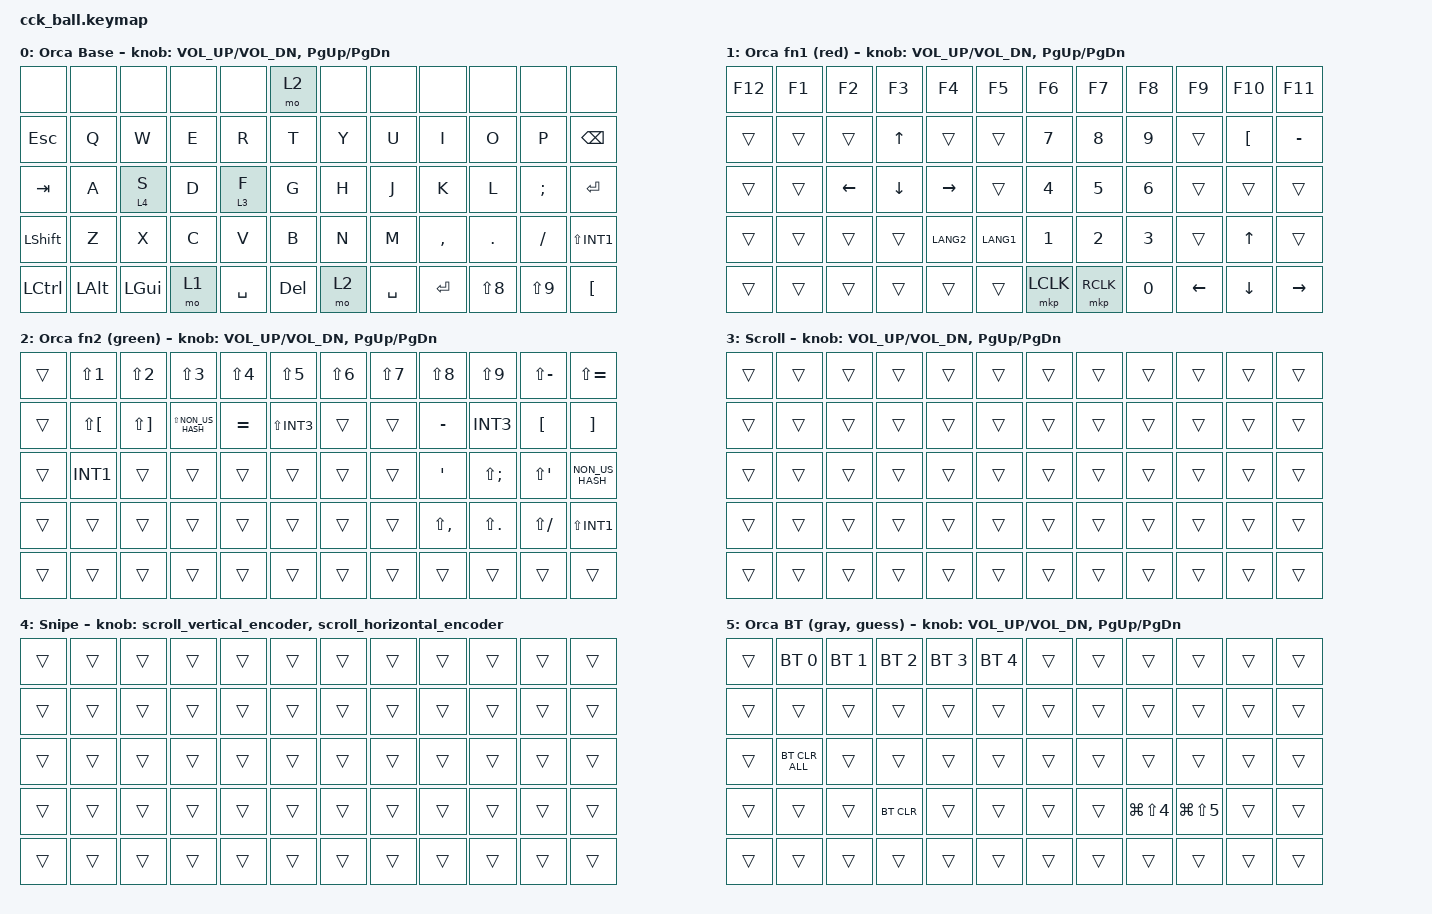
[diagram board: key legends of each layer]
#define ZMK_POINTING_DEFAULT_MOVE_VAL 1000 // 600
#define ZMK_POINTING_DEFAULT_SCRL_VAL 12   // 10

#include <input/processors.dtsi>
#include <zephyr/dt-bindings/input/input-event-codes.h>
#include <behaviors.dtsi>
#include <dt-bindings/zmk/bt.h>
#include <dt-bindings/zmk/keys.h>
#include <dt-bindings/zmk/pointing.h>

&mmv_input_listener { input-processors = <&zip_xy_scaler 2 1>; };

&msc_input_listener { input-processors = <&zip_scroll_scaler 2 1>; };

&msc {
    acceleration-exponent = <0>;      // 0
    time-to-max-speed-ms = <300>;       // 300
    delay-ms = <0>;                   // 0
};

&mmv {
    time-to-max-speed-ms = <500>;
    acceleration-exponent = <1>;
    trigger-period-ms = <16>;
};

&soft_off { hold-time-ms = <2000>; };

/ {
    // 上下滚动编码器行为
    scroll_vertical_encoder: scroll_vertical_encoder {
        compatible = "zmk,behavior-sensor-rotate";
        #sensor-binding-cells = <0>;
        bindings = <&msc SCRL_DOWN>, <&msc SCRL_UP>;
        tap-ms = <100>;
    };

    // 左右滚动编码器行为
    scroll_horizontal_encoder: scroll_horizontal_encoder {
        compatible = "zmk,behavior-sensor-rotate";
        #sensor-binding-cells = <0>;
        bindings = <&msc SCRL_LEFT>, <&msc SCRL_RIGHT>;
        tap-ms = <100>;
    };
    
    behaviors {
    };

    // Orca echo の「fn1(赤)+fn2(緑)」同時押しで BT レイヤー(5)を有効化 ※推測
    conditional_layers {
        compatible = "zmk,conditional-layers";
        tri_layer {
            if-layers = <1 2>;
            then-layer = <5>;
        };
    };

    keymap {
        compatible = "zmk,keymap";

        // Layer 0: 黒印字 / Layer 1: 赤印字(fn1) / Layer 2: 緑印字(fn2)
        // Layer 3,4 は overlay の scroll-layers / snipe-layers 用なので位置を変えない
        orca_base {
            display-name = "Orca Base";
            bindings = <
            &none            &none            &none            &none            &none            &mo 2            &none            &none            &none            &none            &none            &none
            &kp ESC          &kp Q            &kp W            &kp E            &kp R            &kp T            &kp Y            &kp U            &kp I            &kp O            &kp P            &kp BSPC
            &kp TAB          &kp A            &lt 4 S           &kp D            &lt 3 F            &kp G            &kp H            &kp J            &kp K            &kp L            &kp SEMI         &kp ENTER
            &kp LSHFT        &kp Z            &kp X            &kp C            &kp V            &kp B            &kp N            &kp M            &kp COMMA        &kp DOT          &kp FSLH         &kp LS(INT1)  // JIS: ... , . / _
            &kp LCTRL        &kp LALT         &kp LGUI         &mo 1            &kp SPACE        &kp DELETE       &mo 2            &kp SPACE        &kp ENTER        &kp LS(N8)       &kp LS(N9)       &kp LBKT  // JIS: ( ) @
            >;

            sensor-bindings = <&inc_dec_kp C_VOL_UP C_VOL_DN &inc_dec_kp PG_UP PG_DN>;
        };

        orca_fn1 {
            display-name = "Orca fn1 (red)";
            bindings = <
            &kp F12           &kp F1           &kp F2           &kp F3           &kp F4           &kp F5           &kp F6           &kp F7           &kp F8           &kp F9           &kp F10           &kp F11
            &trans           &trans           &trans           &kp UP           &trans           &trans           &kp N7           &kp N8           &kp N9           &trans           &kp LBKT         &kp MINUS  // JIS: 7 8 9 (空き) @ -
            &trans           &trans           &kp LEFT         &kp DOWN         &kp RIGHT        &trans           &kp N4           &kp N5           &kp N6           &trans           &trans           &trans
            &trans           &trans           &trans           &trans           &kp LANG2        &kp LANG1        &kp N1           &kp N2           &kp N3           &trans           &kp UP           &trans
            &trans           &trans           &trans           &trans           &trans           &trans           &mkp LCLK        &mkp RCLK        &kp N0           &kp LEFT         &kp DOWN         &kp RIGHT
            >;

            sensor-bindings = <&inc_dec_kp C_VOL_UP C_VOL_DN &inc_dec_kp PG_UP PG_DN>;
        };

        orca_fn2 {
            display-name = "Orca fn2 (green)";
            bindings = <
            &trans           &kp LS(N1)       &kp LS(N2)       &kp LS(N3)       &kp LS(N4)       &kp LS(N5)       &kp LS(N6)       &kp LS(N7)       &kp LS(N8)       &kp LS(N9)       &kp LS(MINUS)    &kp LS(EQUAL)  // JIS: ! " # $ % & ' ( ) = ~
            &trans           &kp LS(LBKT)     &kp LS(RBKT)     &kp LS(NON_US_HASH) &kp EQUAL        &kp LS(INT3)     &trans           &trans           &kp MINUS        &kp INT3         &kp LBKT         &kp RBKT  // JIS: ` { } ^ |  /  - ¥ @ [
            &trans           &kp INT1         &trans           &trans           &trans           &trans           &trans           &trans           &kp SQT          &kp LS(SEMI)     &kp LS(SQT)      &kp NON_US_HASH  // JIS: \  /  : + * ]
            &trans           &trans           &trans           &trans           &trans           &trans           &trans           &trans           &kp LS(COMMA)    &kp LS(DOT)      &kp LS(FSLH)     &kp LS(INT1)  // JIS: < > ? _
            &trans           &trans           &trans           &trans           &trans           &trans           &trans           &trans           &trans           &trans           &trans           &trans
            >;

            sensor-bindings = <&inc_dec_kp C_VOL_UP C_VOL_DN &inc_dec_kp PG_UP PG_DN>;
        };

        scroll-layers {
            display-name = "Scroll";
            bindings = <
            &trans           &trans           &trans           &trans           &trans           &trans           &trans           &trans           &trans           &trans           &trans           &trans
            &trans           &trans           &trans           &trans           &trans           &trans           &trans           &trans           &trans           &trans           &trans           &trans
            &trans           &trans           &trans           &trans           &trans           &trans           &trans           &trans           &trans           &trans           &trans           &trans
            &trans           &trans           &trans           &trans           &trans           &trans           &trans           &trans           &trans           &trans           &trans           &trans
            &trans           &trans           &trans           &trans           &trans           &trans           &trans           &trans           &trans           &trans           &trans           &trans
            >;

            sensor-bindings = <&inc_dec_kp C_VOL_UP C_VOL_DN &inc_dec_kp PG_UP PG_DN>;
        };

        snipe-layers {
            display-name = "Snipe";
            bindings = <
            &trans           &trans           &trans           &trans           &trans           &trans           &trans           &trans           &trans           &trans           &trans           &trans
            &trans           &trans           &trans           &trans           &trans           &trans           &trans           &trans           &trans           &trans           &trans           &trans
            &trans           &trans           &trans           &trans           &trans           &trans           &trans           &trans           &trans           &trans           &trans           &trans
            &trans           &trans           &trans           &trans           &trans           &trans           &trans           &trans           &trans           &trans           &trans           &trans
            &trans           &trans           &trans           &trans           &trans           &trans           &trans           &trans           &trans           &trans           &trans           &trans
            >;

            sensor-bindings = <&scroll_vertical_encoder>,   // 编码器1：上下滚动
                             <&scroll_horizontal_encoder>;  // 编码器2：左右滚动
        };

        orca_bt {
            display-name = "Orca BT (gray, guess)";
            bindings = <
            &trans           &bt BT_SEL 0     &bt BT_SEL 1     &bt BT_SEL 2     &bt BT_SEL 3     &bt BT_SEL 4     &trans           &trans           &trans           &trans           &trans           &trans
            &trans           &trans           &trans           &trans           &trans           &trans           &trans           &trans           &trans           &trans           &trans           &trans
            &trans           &bt BT_CLR_ALL   &trans           &trans           &trans           &trans           &trans           &trans           &trans           &trans           &trans           &trans
            &trans           &trans           &trans           &bt BT_CLR           &trans           &trans           &trans           &trans           &kp LG(LS(N4))   &kp LG(LS(N5))   &trans           &trans
            &trans           &trans           &trans           &trans           &trans           &trans           &trans           &trans           &trans       &trans     &trans     &trans
            >;

            sensor-bindings = <&inc_dec_kp C_VOL_UP C_VOL_DN &inc_dec_kp PG_UP PG_DN>;
        };
    };
};
